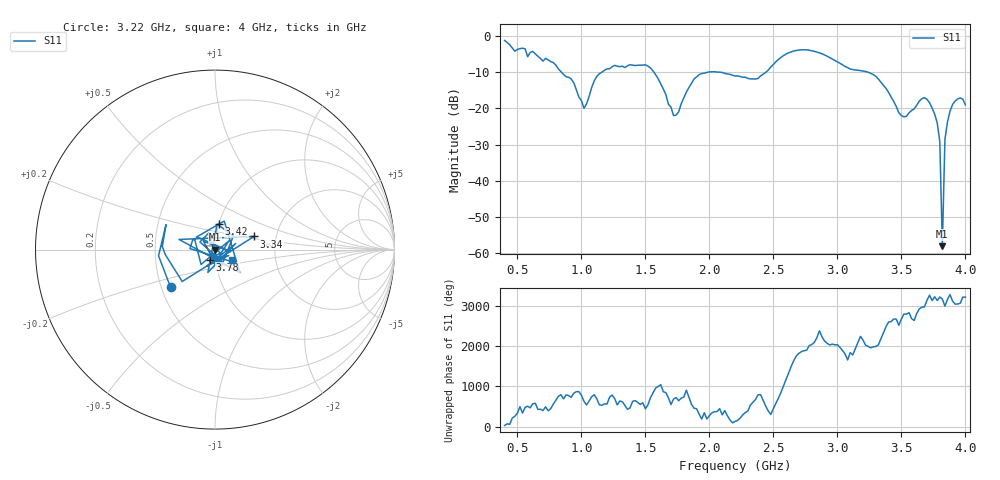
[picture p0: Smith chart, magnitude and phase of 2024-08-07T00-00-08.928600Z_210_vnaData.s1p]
!Created with skrf (http://scikit-rf.org).
# Hz S RI R 50.0
!freq ReS11 ImS11
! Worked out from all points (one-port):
!   181 points, 400 MHz to 4 GHz, reference 50 ohm
!   lowest |S11| = -58.1 dB at 3.82 GHz (marker M1), VSWR 1.00, Z = 50 - j0.123 ohm
!   |S11| at or under -10 dB: 1.567 GHz to 1.986 GHz (419.5 MHz wide, 23.6 % of centre); 2.088 GHz to 2.441 GHz (352.7 MHz wide, 15.6 % of centre); 3.241 GHz to end of sweep (the widest 3 of 4)
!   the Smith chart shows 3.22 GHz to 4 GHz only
!   S11 on the Smith chart (normalised r, x): 3.22 GHz: 0.56, -0.26; 3.34 GHz: 1.54, +0.24; 3.42 GHz: 1.00, +0.29; 3.78 GHz: 0.94, -0.11; 4 GHz: 1.20, -0.14
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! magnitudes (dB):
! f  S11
! 400 MHz  -1.2
! 860 MHz  -10.6
! 940 MHz  -12.9
! 1.02 GHz  -20.0
! 1.12 GHz  -11.1
! 1.3 GHz  -8.4
! 1.54 GHz  -8.8
! 1.72 GHz  -22.0
! 1.76 GHz  -21.0
! 1.92 GHz  -10.6
! 2.2 GHz  -11.0
! 2.38 GHz  -11.7
! 2.66 GHz  -4.1
! 2.86 GHz  -4.6
! 3.1 GHz  -9.1
! 3.22 GHz  -9.8
! 3.34 GHz  -12.8
! 3.42 GHz  -16.9
! 3.5 GHz  -22.0
! 3.56 GHz  -21.2
! 3.68 GHz  -17.0
! 3.78 GHz  -24.0
! 3.8 GHz  -29.2
! 3.82 GHz  -58.1
! 3.84 GHz  -28.6
! 3.86 GHz  -23.7
! 3.92 GHz  -18.0
! 4 GHz  -19.0
